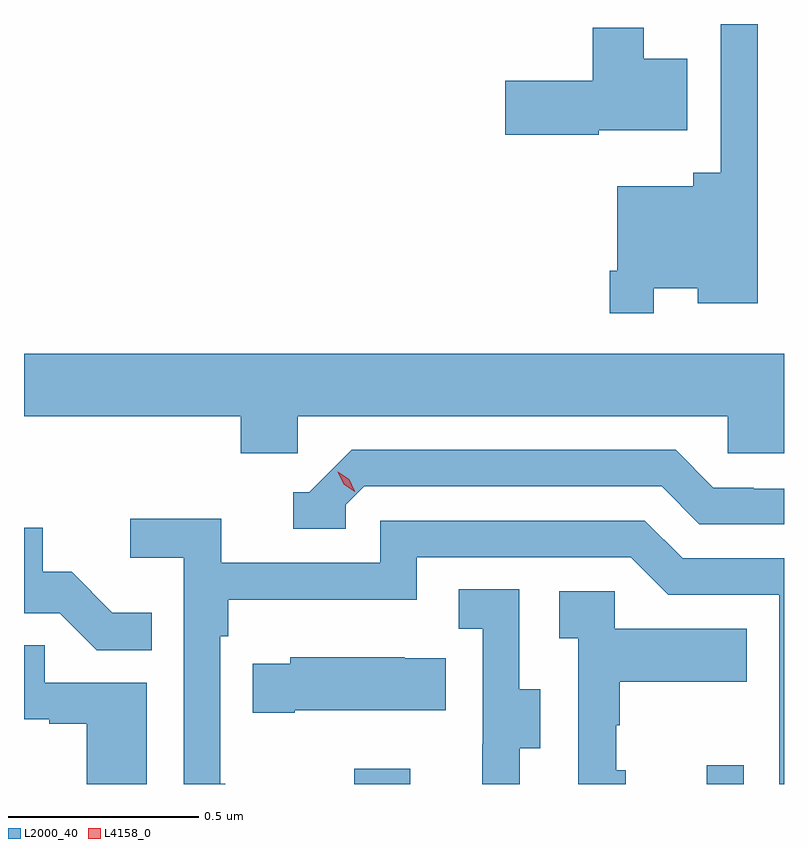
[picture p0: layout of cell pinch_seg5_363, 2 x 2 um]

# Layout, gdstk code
import gdstk
lib = gdstk.Library(unit=1e-6, precision=1e-09)
def R(c, l, rs):  # rectangles x0, y0, x1, y1
    for r in rs: c.add(gdstk.rectangle(r[:2], r[2:], *l))
def P(c, l, *ps):  # polygons
    for p in ps: c.add(gdstk.Polygon(p, *l))
L2000_40 = (2000, 40)
L4158_0 = (4158, 0)

pinch_seg5_363 = lib.new_cell('pinch_seg5_363')
R(pinch_seg5_363, L2000_40, [(976.792,881.1,976.939,881.14), (977.72,881.1,977.817,881.149)])
P(pinch_seg5_363, L2000_40, [(977.58,882.404),(977.696,882.404),(977.696,882.365),(977.854,882.365),(977.854,883.1),(977.757,883.1),(977.757,882.709),(977.684,882.709),(977.684,882.673),(977.484,882.673),(977.484,882.451),(977.464,882.451),(977.464,882.339),(977.58,882.339)],
  [(977.436,882.821),(977.668,882.821),(977.668,883.009),(977.554,883.009),(977.554,883.09),(977.42,883.09),(977.42,882.951),(977.19,882.951),(977.19,882.809),(977.436,882.809)],
  [(976.644,882.068),(977.775,882.068),(977.775,881.97),(977.923,881.97),(977.923,882.232),(975.923,882.232),(975.923,882.068),(976.493,882.068),(976.493,881.97),(976.644,881.97)],
  [(976.77,881.835),(976.818,881.883),(977.601,881.883),(977.7,881.784),(977.923,881.784),(977.923,881.877),(977.844,881.877),(977.844,881.88),(977.737,881.88),(977.638,881.979),(976.785,881.979),(976.674,881.868),(976.631,881.868),(976.631,881.772),(976.77,881.772)],
  [(976.453,881.101),(976.44,881.101),(976.44,881.489),(976.46,881.489),(976.46,881.585),(976.956,881.585),(976.956,881.697),(977.52,881.697),(977.619,881.598),(977.91,881.598),(977.91,881.1),(977.923,881.1),(977.923,881.694),(977.656,881.694),(977.557,881.793),(976.86,881.793),(976.86,881.682),(976.442,881.682),(976.442,881.798),(976.203,881.798),(976.203,881.696),(976.344,881.696),(976.344,881.1),(976.453,881.1)],
  [(976.259,881.551),(976.155,881.551),(976.048,881.658),(975.972,881.658),(975.972,881.775),(975.923,881.775),(975.923,881.55),(976.017,881.55),(976.115,881.452),(976.259,881.452)],
  [(977.227,881.194),(977.281,881.194),(977.281,881.349),(977.226,881.349),(977.226,881.612),(977.067,881.612),(977.067,881.509),(977.13,881.509),(977.13,881.205),(977.129,881.205),(977.129,881.1),(977.227,881.1)],
  [(977.506,881.136),(977.481,881.136),(977.481,881.255),(977.491,881.255),(977.491,881.369),(977.825,881.369),(977.825,881.509),(977.478,881.509),(977.478,881.607),(977.331,881.607),(977.331,881.483),(977.382,881.483),(977.382,881.1),(977.506,881.1)],
  [(976.246,881.367),(975.977,881.367),(975.977,881.465),(975.923,881.465),(975.923,881.271),(975.989,881.271),(975.989,881.259),(976.088,881.259),(976.088,881.1),(976.246,881.1)],
  [(976.636,881.294),(977.033,881.294),(977.033,881.431),(976.925,881.431),(976.925,881.434),(976.623,881.434),(976.623,881.416),(976.525,881.416),(976.525,881.287),(976.636,881.287)])
P(pinch_seg5_363, L4158_0, [(976.794,881.869),(976.764,881.889),(976.748,881.922),(976.748,881.922),(976.749,881.922),(976.779,881.902),(976.794,881.87),(976.794,881.869)])

lib.write_gds('pinch_seg5_363.gds')
